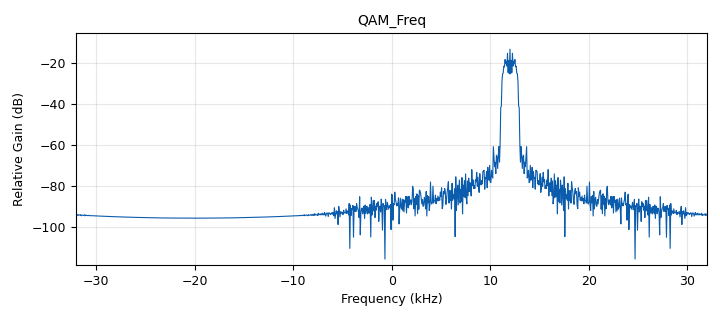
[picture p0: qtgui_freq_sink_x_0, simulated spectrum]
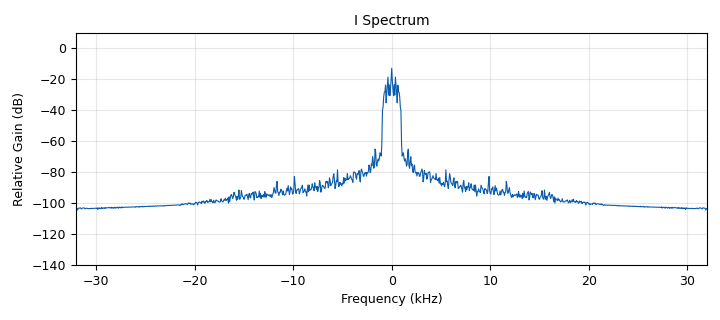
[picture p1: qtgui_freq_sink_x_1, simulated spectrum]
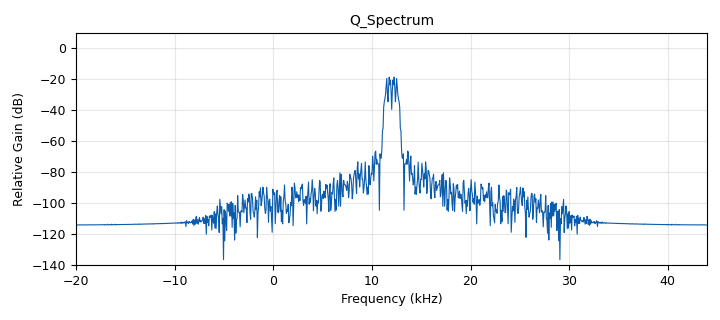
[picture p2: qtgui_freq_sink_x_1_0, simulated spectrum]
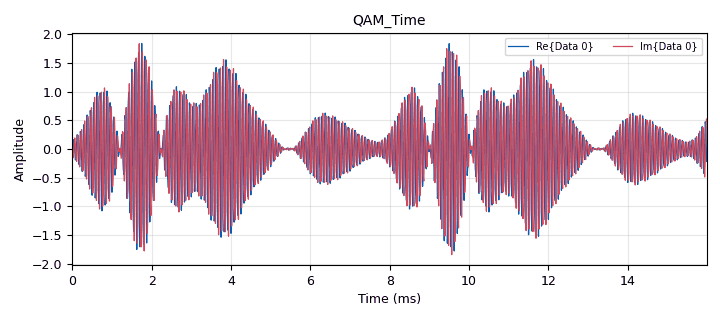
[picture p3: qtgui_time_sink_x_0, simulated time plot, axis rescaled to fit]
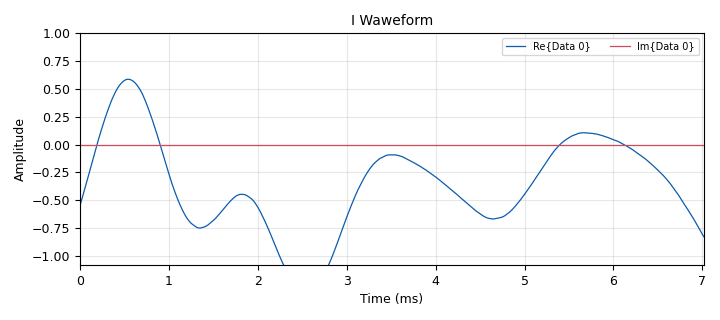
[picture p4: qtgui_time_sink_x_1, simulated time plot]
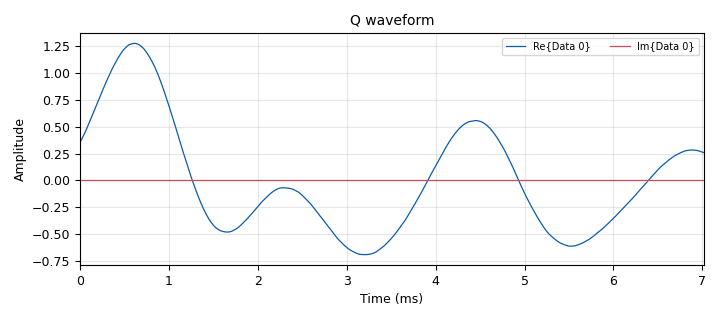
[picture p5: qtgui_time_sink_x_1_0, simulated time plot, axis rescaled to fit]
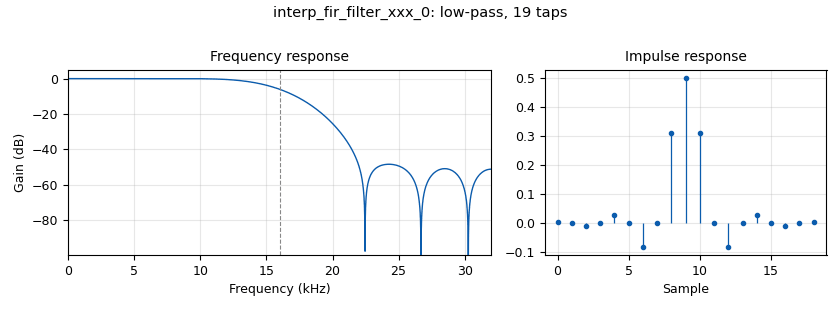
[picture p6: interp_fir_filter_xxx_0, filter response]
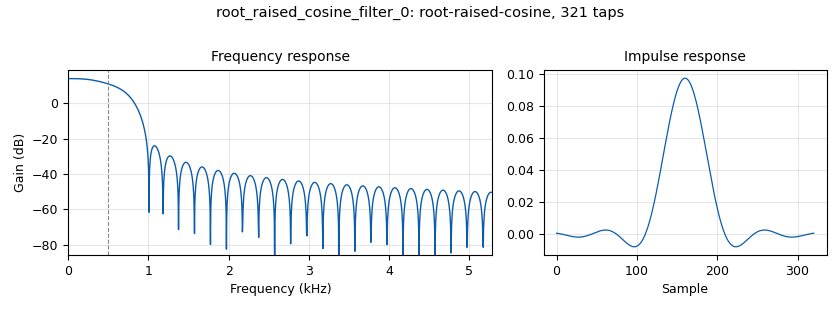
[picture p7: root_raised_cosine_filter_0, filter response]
options:
  parameters:
    author: duong
    generate_options: qt_gui
    id: QAM
    output_language: python
    title: QAM Tx passband
  states: {}

blocks:
- name: Tx_gain
  id: variable
  parameters:
    value: '5'
  states: {}
- name: carrier_freq
  id: variable
  parameters:
    value: '12000'
  states: {}
- name: excess_bw
  id: variable
  parameters:
    value: '0.9'
  states: {}
- name: lowPassTaps
  id: variable_low_pass_filter_taps
  parameters:
    beta: '1'
    cutoff_freq: samp_rate/4
    gain: '1'
    samp_rate: samp_rate
    width: samp_rate/8
    win: window.WIN_HAMMING
  states: {}
- name: mod_order
  id: variable
  parameters:
    value: '4'
  states: {}
- name: samp_rate
  id: variable
  parameters:
    value: '64000'
  states: {}
- name: sps
  id: variable
  parameters:
    value: '100'
  states: {}
- name: analog_random_source_x_0
  id: analog_random_source_x
  parameters:
    max: '2'
    min: '0'
    num_samps: '1000'
    repeat: 'True'
    type: byte
  states: {}
- name: analog_sig_source_x_0
  id: analog_sig_source_x
  parameters:
    amp: '1'
    freq: carrier_freq
    offset: '0'
    phase: '0'
    samp_rate: samp_rate
    type: complex
    waveform: analog.GR_COS_WAVE
  states: {}
- name: analog_sig_source_x_0_0
  id: analog_sig_source_x
  parameters:
    amp: '-1'
    freq: carrier_freq
    offset: '0'
    phase: '0'
    samp_rate: samp_rate
    type: complex
    waveform: analog.GR_SIN_WAVE
  states: {}
- name: blocks_char_to_float_0
  id: blocks_char_to_float
  parameters:
    scale: '1'
  states: {}
- name: blocks_char_to_float_0_0
  id: blocks_char_to_float
  parameters:
    scale: '1'
  states: {}
- name: blocks_multiply_xx_0
  id: blocks_multiply_xx
  parameters:
    type: complex
  states: {}
- name: blocks_multiply_xx_0_0
  id: blocks_multiply_xx
  parameters:
    type: complex
  states: {}
- name: blocks_pack_k_bits_bb_0
  id: blocks_pack_k_bits_bb
  parameters:
    k: '2'
  states: {}
- name: blocks_sub_xx_0
  id: blocks_sub_xx
  parameters:
    type: complex
  states: {}
- name: blocks_throttle2_0
  id: blocks_throttle2
  parameters:
    samples_per_second: samp_rate
    type: byte
  states: {}
- name: digital_map_bb_0
  id: digital_map_bb
  parameters:
    map: '[1, -1, 1, -1]'
  states: {}
- name: digital_map_bb_0_0
  id: digital_map_bb
  parameters:
    map: '[1,1,-1,-1]'
  states: {}
- name: interp_fir_filter_xxx_0
  id: interp_fir_filter_xxx
  parameters:
    interp: '1'
    taps: lowPassTaps
    type: fcc
  states: {}
- name: interp_fir_filter_xxx_0_0
  id: interp_fir_filter_xxx
  parameters:
    interp: '1'
    taps: lowPassTaps
    type: fcc
  states: {}
- name: qtgui_freq_sink_x_0
  id: qtgui_freq_sink_x
  parameters:
    autoscale: 'True'
    bw: samp_rate
    fc: '0'
    fftsize: '1024'
    name: QAM_Freq
    type: complex
    wintype: window.WIN_HAMMING
  states: {}
- name: qtgui_freq_sink_x_1
  id: qtgui_freq_sink_x
  parameters:
    average: '0.05'
    bw: samp_rate
    fc: '0'
    fftsize: '1024'
    name: I Spectrum
    type: complex
    wintype: window.WIN_HAMMING
  states: {}
- name: qtgui_freq_sink_x_1_0
  id: qtgui_freq_sink_x
  parameters:
    bw: samp_rate
    fc: carrier_freq
    fftsize: '1024'
    name: Q_Spectrum
    type: complex
    wintype: window.WIN_HAMMING
  states: {}
- name: qtgui_time_sink_x_0
  id: qtgui_time_sink_x
  parameters:
    name: QAM_Time
    size: '1024'
    srate: samp_rate
    type: complex
  states: {}
- name: qtgui_time_sink_x_1
  id: qtgui_time_sink_x
  parameters:
    name: I Waweform
    size: '450'
    srate: samp_rate
    type: complex
  states: {}
- name: qtgui_time_sink_x_1_0
  id: qtgui_time_sink_x
  parameters:
    entags: 'False'
    name: Q waveform
    size: '450'
    srate: samp_rate
    type: complex
  states: {}
- name: root_raised_cosine_filter_0
  id: root_raised_cosine_filter
  parameters:
    alpha: '0.9'
    decim: '1'
    gain: Tx_gain
    ntaps: '321'
    samp_rate: samp_rate
    sym_rate: '1000'
    type: fir_filter_ccf
  states: {}
- name: root_raised_cosine_filter_0_0
  id: root_raised_cosine_filter
  parameters:
    alpha: '0.9'
    decim: '1'
    gain: Tx_gain
    ntaps: '321'
    samp_rate: samp_rate
    sym_rate: '1000'
    type: fir_filter_ccf
  states: {}

connections:
- [analog_random_source_x_0, '0', blocks_throttle2_0, '0']
- [analog_sig_source_x_0, '0', blocks_multiply_xx_0, '1']
- [analog_sig_source_x_0_0, '0', blocks_multiply_xx_0_0, '0']
- [blocks_char_to_float_0, '0', interp_fir_filter_xxx_0, '0']
- [blocks_char_to_float_0_0, '0', interp_fir_filter_xxx_0_0, '0']
- [blocks_multiply_xx_0, '0', blocks_sub_xx_0, '0']
- [blocks_multiply_xx_0_0, '0', blocks_sub_xx_0, '1']
- [blocks_pack_k_bits_bb_0, '0', digital_map_bb_0, '0']
- [blocks_pack_k_bits_bb_0, '0', digital_map_bb_0_0, '0']
- [blocks_sub_xx_0, '0', qtgui_freq_sink_x_0, '0']
- [blocks_sub_xx_0, '0', qtgui_time_sink_x_0, '0']
- [blocks_throttle2_0, '0', blocks_pack_k_bits_bb_0, '0']
- [digital_map_bb_0, '0', blocks_char_to_float_0, '0']
- [digital_map_bb_0_0, '0', blocks_char_to_float_0_0, '0']
- [interp_fir_filter_xxx_0, '0', root_raised_cosine_filter_0, '0']
- [interp_fir_filter_xxx_0_0, '0', root_raised_cosine_filter_0_0, '0']
- [root_raised_cosine_filter_0, '0', blocks_multiply_xx_0, '0']
- [root_raised_cosine_filter_0, '0', qtgui_freq_sink_x_1, '0']
- [root_raised_cosine_filter_0, '0', qtgui_time_sink_x_1, '0']
- [root_raised_cosine_filter_0_0, '0', blocks_multiply_xx_0_0, '1']
- [root_raised_cosine_filter_0_0, '0', qtgui_freq_sink_x_1_0, '0']
- [root_raised_cosine_filter_0_0, '0', qtgui_time_sink_x_1_0, '0']

metadata:
  file_format: 1
  grc_version: 3.10.9.2
